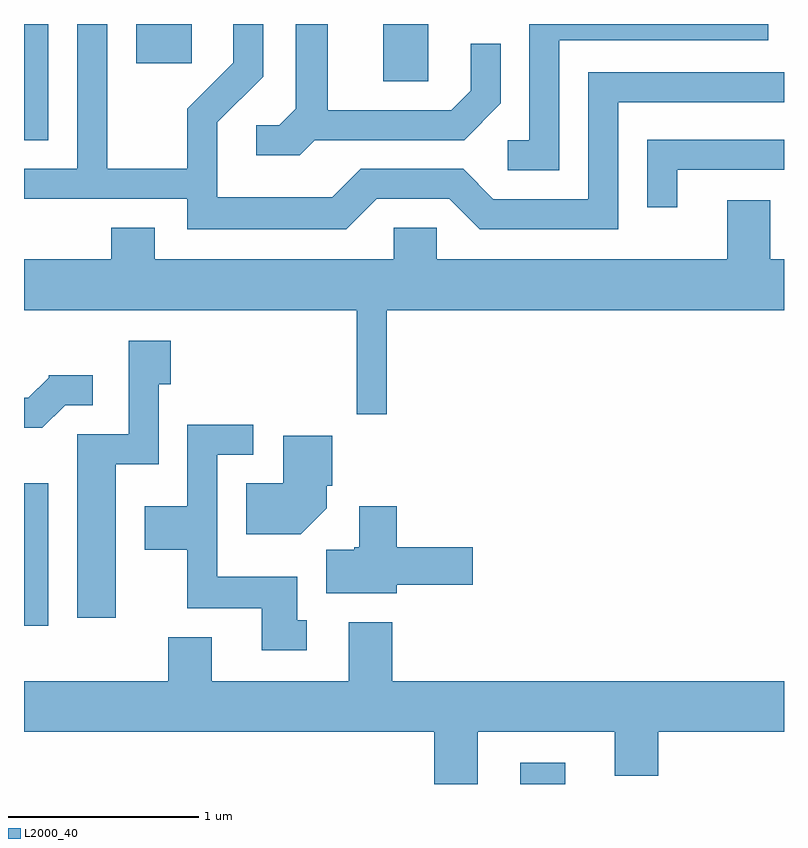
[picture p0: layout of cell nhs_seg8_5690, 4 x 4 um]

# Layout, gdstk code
import gdstk
lib = gdstk.Library(unit=1e-6, precision=1e-09)
def R(c, l, rs):  # rectangles x0, y0, x1, y1
    for r in rs: c.add(gdstk.rectangle(r[:2], r[2:], *l))
def P(c, l, *ps):  # polygons
    for p in ps: c.add(gdstk.Polygon(p, *l))
L2000_40 = (2000, 40)

nhs_seg8_5690 = lib.new_cell('nhs_seg8_5690')
R(nhs_seg8_5690, L2000_40, [(358.223,1858.342,358.459,1858.454), (355.611,1859.176,355.739,1859.924), (355.611,1861.731,355.739,1862.342), (357.501,1862.041,357.739,1862.342), (356.201,1862.136,356.494,1862.342)])
P(nhs_seg8_5690, L2000_40, [(357.467,1861.421),(357.849,1861.421),(358.009,1861.261),(358.739,1861.261),(358.739,1861.931),(359.611,1861.931),(359.611,1862.089),(358.581,1862.089),(358.581,1861.419),(358.082,1861.419),(357.922,1861.579),(357.384,1861.579),(357.234,1861.429),(356.629,1861.429),(356.629,1861.824),(356.869,1862.064),(356.869,1862.342),(356.711,1862.342),(356.711,1862.137),(356.471,1861.897),(356.471,1861.579),(356.049,1861.579),(356.049,1862.342),(355.891,1862.342),(355.891,1861.579),(355.611,1861.579),(355.611,1861.421),(356.471,1861.421),(356.471,1861.261),(357.307,1861.261)],
  [(358.429,1862.256),(359.528,1862.256),(359.528,1862.342),(358.271,1862.342),(358.271,1861.729),(358.158,1861.729),(358.158,1861.571),(358.429,1861.571)],
  [(357.142,1861.731),(357.927,1861.731),(358.119,1861.924),(358.119,1862.238),(357.961,1862.238),(357.961,1861.992),(357.859,1861.889),(357.209,1861.889),(357.209,1862.342),(357.041,1862.342),(357.041,1861.897),(356.954,1861.809),(356.833,1861.809),(356.833,1861.651),(357.062,1861.651)],
  [(359.049,1861.576),(359.611,1861.576),(359.611,1861.734),(358.891,1861.734),(358.891,1861.378),(359.049,1861.378)],
  [(357.519,1860.836),(359.611,1860.836),(359.611,1861.104),(359.539,1861.104),(359.539,1861.414),(359.311,1861.414),(359.311,1861.104),(357.784,1861.104),(357.784,1861.269),(357.556,1861.269),(357.556,1861.104),(356.299,1861.104),(356.299,1861.269),(356.071,1861.269),(356.071,1861.104),(355.611,1861.104),(355.611,1860.836),(357.361,1860.836),(357.361,1860.288),(357.519,1860.288)],
  [(356.094,1860.026),(356.319,1860.026),(356.319,1860.446),(356.384,1860.446),(356.384,1860.674),(356.161,1860.674),(356.161,1860.184),(355.891,1860.184),(355.891,1859.216),(356.094,1859.216)],
  [(355.827,1860.336),(355.973,1860.336),(355.973,1860.494),(355.74,1860.494),(355.74,1860.481),(355.634,1860.374),(355.611,1860.374),(355.611,1860.216),(355.707,1860.216)],
  [(357.098,1859.204),(357.049,1859.204),(357.049,1859.434),(356.629,1859.434),(356.629,1860.076),(356.818,1860.076),(356.818,1860.234),(356.471,1860.234),(356.471,1859.804),(356.246,1859.804),(356.246,1859.576),(356.471,1859.576),(356.471,1859.266),(356.861,1859.266),(356.861,1859.046),(357.098,1859.046)],
  [(357.204,1859.794),(357.204,1859.911),(357.234,1859.911),(357.234,1860.174),(356.976,1860.174),(356.976,1859.924),(356.781,1859.924),(356.781,1859.656),(357.067,1859.656)],
  [(357.574,1859.391),(357.974,1859.391),(357.974,1859.589),(357.574,1859.589),(357.574,1859.804),(357.376,1859.804),(357.376,1859.589),(357.35,1859.589),(357.35,1859.574),(357.201,1859.574),(357.201,1859.346),(357.574,1859.346)],
  [(357.999,1858.616),(358.721,1858.616),(358.721,1858.386),(358.949,1858.386),(358.949,1858.616),(359.611,1858.616),(359.611,1858.884),(357.549,1858.884),(357.549,1859.194),(357.321,1859.194),(357.321,1858.884),(356.599,1858.884),(356.599,1859.114),(356.371,1859.114),(356.371,1858.884),(355.611,1858.884),(355.611,1858.616),(357.771,1858.616),(357.771,1858.342),(357.999,1858.342)])

lib.write_gds('nhs_seg8_5690.gds')
